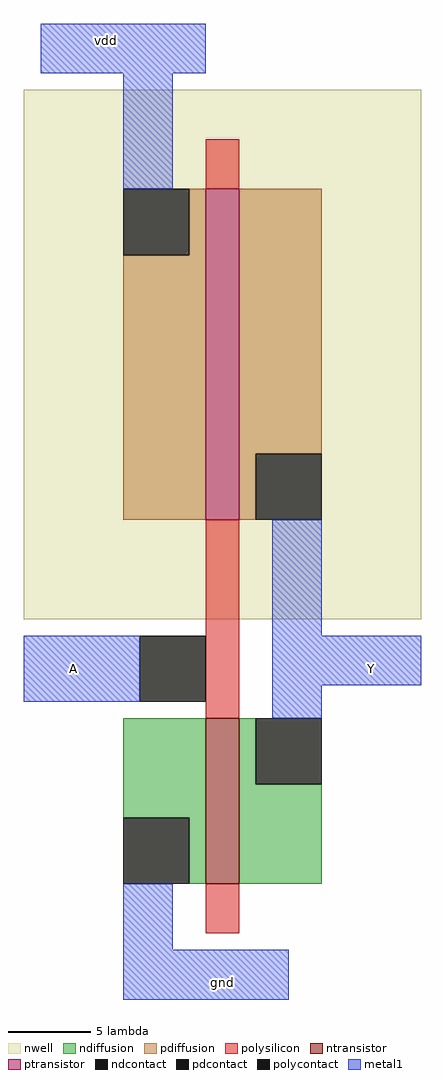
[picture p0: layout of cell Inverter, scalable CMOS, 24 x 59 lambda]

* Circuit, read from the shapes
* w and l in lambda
.subckt Inverter A Y gnd vdd
M1 Y A gnd VSUBS nfet w=10 l=2
M2 Y A vdd n1 pfet w=20 l=2
.ends

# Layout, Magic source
magic
tech scmos
<< nwell >>
rect -11 -6 13 26
<< ntransistor >>
rect 0 -22 2 -12
<< ptransistor >>
rect 0 0 2 20
<< ndiffusion >>
rect -5 -18 0 -12
rect -1 -22 0 -18
rect 2 -16 3 -12
rect 2 -22 7 -16
<< pdiffusion >>
rect -1 16 0 20
rect -5 0 0 16
rect 2 4 7 20
rect 2 0 3 4
<< ndcontact >>
rect -5 -22 -1 -18
rect 3 -16 7 -12
<< pdcontact >>
rect -5 16 -1 20
rect 3 0 7 4
<< polysilicon >>
rect 0 20 2 23
rect 0 -12 2 0
rect 0 -25 2 -22
<< polycontact >>
rect -4 -11 0 -7
<< metal1 >>
rect -10 27 0 30
rect -5 20 -2 27
rect 4 -7 7 0
rect -11 -11 -4 -7
rect 4 -10 13 -7
rect 4 -12 7 -10
rect -5 -26 -2 -22
rect -5 -29 5 -26
<< labels >>
rlabel metal1 -6 29 -6 29 4 vdd
rlabel metal1 1 -28 1 -28 1 gnd
rlabel metal1 -8 -9 -8 -9 3 A
rlabel metal1 10 -9 10 -9 7 Y
<< end >>
